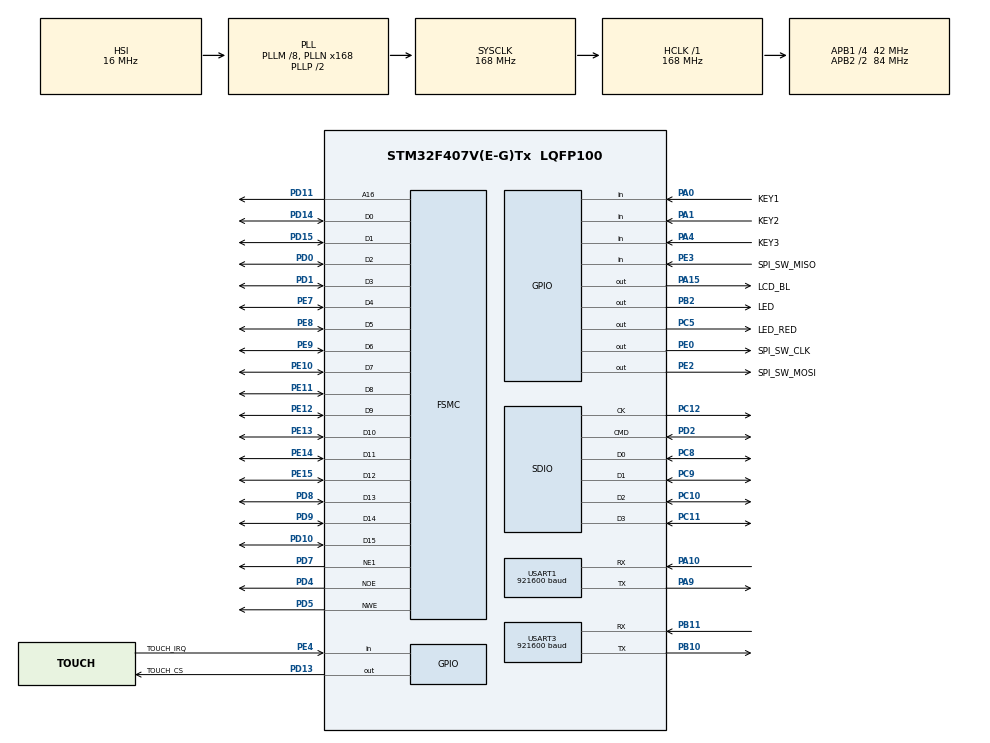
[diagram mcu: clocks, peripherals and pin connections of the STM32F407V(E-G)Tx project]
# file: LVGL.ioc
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Dma.Request0=USART3_RX
Dma.Request1=USART3_TX
Dma.Request2=SDIO_RX
Dma.Request3=SDIO_TX
Dma.Request4=USART1_TX
Dma.Request5=USART1_RX
Dma.SDIO_RX.2.Direction=DMA_PERIPH_TO_MEMORY
Dma.SDIO_RX.2.FIFOMode=DMA_FIFOMODE_ENABLE
Dma.SDIO_RX.2.FIFOThreshold=DMA_FIFO_THRESHOLD_FULL
Dma.SDIO_RX.2.Instance=DMA2_Stream3
Dma.SDIO_RX.2.MemBurst=DMA_MBURST_INC4
Dma.SDIO_RX.2.MemDataAlignment=DMA_MDATAALIGN_WORD
Dma.SDIO_RX.2.MemInc=DMA_MINC_ENABLE
Dma.SDIO_RX.2.Mode=DMA_PFCTRL
Dma.SDIO_RX.2.PeriphBurst=DMA_PBURST_INC4
Dma.SDIO_RX.2.PeriphDataAlignment=DMA_PDATAALIGN_WORD
Dma.SDIO_RX.2.PeriphInc=DMA_PINC_DISABLE
Dma.SDIO_RX.2.Priority=DMA_PRIORITY_LOW
Dma.SDIO_TX.3.Direction=DMA_MEMORY_TO_PERIPH
Dma.SDIO_TX.3.FIFOMode=DMA_FIFOMODE_ENABLE
Dma.SDIO_TX.3.FIFOThreshold=DMA_FIFO_THRESHOLD_FULL
Dma.SDIO_TX.3.Instance=DMA2_Stream6
Dma.SDIO_TX.3.MemBurst=DMA_MBURST_INC4
Dma.SDIO_TX.3.MemDataAlignment=DMA_MDATAALIGN_WORD
Dma.SDIO_TX.3.MemInc=DMA_MINC_ENABLE
Dma.SDIO_TX.3.Mode=DMA_PFCTRL
Dma.SDIO_TX.3.PeriphBurst=DMA_PBURST_INC4
Dma.SDIO_TX.3.PeriphDataAlignment=DMA_PDATAALIGN_WORD
Dma.SDIO_TX.3.PeriphInc=DMA_PINC_DISABLE
Dma.SDIO_TX.3.Priority=DMA_PRIORITY_LOW
Dma.USART1_RX.5.Direction=DMA_PERIPH_TO_MEMORY
Dma.USART1_RX.5.FIFOMode=DMA_FIFOMODE_DISABLE
Dma.USART1_RX.5.Instance=DMA2_Stream2
Dma.USART1_RX.5.MemDataAlignment=DMA_MDATAALIGN_BYTE
Dma.USART1_RX.5.MemInc=DMA_MINC_ENABLE
Dma.USART1_RX.5.Mode=DMA_NORMAL
Dma.USART1_RX.5.PeriphDataAlignment=DMA_PDATAALIGN_BYTE
Dma.USART1_RX.5.PeriphInc=DMA_PINC_DISABLE
Dma.USART1_RX.5.Priority=DMA_PRIORITY_LOW
Dma.USART1_TX.4.Direction=DMA_MEMORY_TO_PERIPH
Dma.USART1_TX.4.FIFOMode=DMA_FIFOMODE_DISABLE
Dma.USART1_TX.4.Instance=DMA2_Stream7
Dma.USART1_TX.4.MemDataAlignment=DMA_MDATAALIGN_BYTE
Dma.USART1_TX.4.MemInc=DMA_MINC_ENABLE
Dma.USART1_TX.4.Mode=DMA_NORMAL
Dma.USART1_TX.4.PeriphDataAlignment=DMA_PDATAALIGN_BYTE
Dma.USART1_TX.4.PeriphInc=DMA_PINC_DISABLE
Dma.USART1_TX.4.Priority=DMA_PRIORITY_LOW
Dma.USART3_RX.0.Direction=DMA_PERIPH_TO_MEMORY
Dma.USART3_RX.0.FIFOMode=DMA_FIFOMODE_DISABLE
Dma.USART3_RX.0.Instance=DMA1_Stream1
Dma.USART3_RX.0.MemDataAlignment=DMA_MDATAALIGN_BYTE
Dma.USART3_RX.0.MemInc=DMA_MINC_ENABLE
Dma.USART3_RX.0.Mode=DMA_NORMAL
Dma.USART3_RX.0.PeriphDataAlignment=DMA_PDATAALIGN_BYTE
Dma.USART3_RX.0.PeriphInc=DMA_PINC_DISABLE
Dma.USART3_RX.0.Priority=DMA_PRIORITY_LOW
Dma.USART3_TX.1.Direction=DMA_MEMORY_TO_PERIPH
Dma.USART3_TX.1.FIFOMode=DMA_FIFOMODE_DISABLE
Dma.USART3_TX.1.Instance=DMA1_Stream3
Dma.USART3_TX.1.MemDataAlignment=DMA_MDATAALIGN_BYTE
Dma.USART3_TX.1.MemInc=DMA_MINC_ENABLE
Dma.USART3_TX.1.Mode=DMA_NORMAL
Dma.USART3_TX.1.PeriphDataAlignment=DMA_PDATAALIGN_BYTE
Dma.USART3_TX.1.PeriphInc=DMA_PINC_DISABLE
Dma.USART3_TX.1.Priority=DMA_PRIORITY_LOW
FATFS._CODE_PAGE=936
FATFS._FS_EXFAT=1
FATFS._USE_LFN=3
FSMC.BusTurnAroundDuration1=0
FSMC.DataSetupTime1=60
FSMC.ExtendedAddressSetupTime1=9
FSMC.ExtendedBusTurnAroundDuration1=0
FSMC.ExtendedDataSetupTime1=8
FSMC.ExtendedMode1=FSMC_EXTENDED_MODE_ENABLE
Mcu.Family=STM32F4
Mcu.Name=STM32F407V(E-G)Tx
Mcu.Package=LQFP100
NVIC.DMA1_Stream1_IRQn=true\:0\:0\:false\:false\:true\:false\:true\:true
NVIC.DMA1_Stream3_IRQn=true\:0\:0\:false\:false\:true\:false\:true\:true
NVIC.DMA2_Stream2_IRQn=true\:0\:0\:false\:false\:true\:false\:true\:true
NVIC.DMA2_Stream3_IRQn=true\:0\:0\:false\:false\:true\:false\:true\:true
NVIC.DMA2_Stream6_IRQn=true\:0\:0\:false\:false\:true\:false\:true\:true
NVIC.DMA2_Stream7_IRQn=true\:0\:0\:false\:false\:true\:false\:true\:true
NVIC.PriorityGroup=NVIC_PRIORITYGROUP_4
NVIC.SDIO_IRQn=true\:0\:0\:false\:false\:true\:true\:true\:true
NVIC.TIM4_IRQn=true\:0\:0\:false\:false\:true\:true\:true\:true
NVIC.TIM5_IRQn=true\:3\:0\:true\:false\:true\:true\:true\:true
NVIC.TIM6_DAC_IRQn=true\:1\:0\:true\:false\:true\:true\:true\:true
NVIC.TIM8_TRG_COM_TIM14_IRQn=true\:15\:0\:false\:false\:true\:false\:true\:true
NVIC.TimeBase=TIM8_TRG_COM_TIM14_IRQn
NVIC.TimeBaseIP=TIM14
NVIC.USART1_IRQn=true\:0\:0\:false\:false\:true\:false\:true\:true
NVIC.USART3_IRQn=true\:0\:0\:false\:false\:true\:false\:true\:true
PA0-WKUP.GPIO_Label=KEY1
PA0-WKUP.GPIO_PuPd=GPIO_PULLDOWN
PA0-WKUP.Signal=GPIO_Input
PA1.GPIO_Label=KEY2
PA1.GPIO_Mode=GPIO_MODE_INPUT
PA1.GPIO_PuPd=GPIO_PULLUP
PA1.Signal=GPIO_Input
PA10.Mode=Asynchronous
PA10.Signal=USART1_RX
PA13.Mode=Serial_Wire
PA13.Signal=SYS_JTMS-SWDIO
PA14.Mode=Serial_Wire
PA14.Signal=SYS_JTCK-SWCLK
PA15.GPIO_Label=LCD_BL
PA15.GPIO_PuPd=GPIO_PULLUP
PA15.Signal=GPIO_Output
PA4.GPIO_Label=KEY3
PA4.GPIO_Mode=GPIO_MODE_INPUT
PA4.GPIO_PuPd=GPIO_PULLUP
PA4.Signal=GPIO_Input
PA9.Mode=Asynchronous
PA9.Signal=USART1_TX
PB10.Mode=Asynchronous
PB10.Signal=USART3_TX
PB11.Mode=Asynchronous
PB11.Signal=USART3_RX
PB2.GPIO_Label=LED
PB2.GPIO_ModeDefaultOutputPP=GPIO_MODE_OUTPUT_PP
PB2.GPIO_PuPd=GPIO_PULLUP
PB2.GPIO_Speed=GPIO_SPEED_FREQ_VERY_HIGH
PB2.Signal=GPIO_Output
PC10.Mode=SD_4_bits_Wide_bus
PC10.Signal=SDIO_D2
PC11.Mode=SD_4_bits_Wide_bus
PC11.Signal=SDIO_D3
PC12.Mode=SD_4_bits_Wide_bus
PC12.Signal=SDIO_CK
PC14-OSC32_IN.Mode=LSE-External-Oscillator
PC14-OSC32_IN.Signal=RCC_OSC32_IN
PC15-OSC32_OUT.Mode=LSE-External-Oscillator
PC15-OSC32_OUT.Signal=RCC_OSC32_OUT
PC5.GPIO_Label=LED_RED
PC5.GPIO_ModeDefaultOutputPP=GPIO_MODE_OUTPUT_PP
PC5.GPIO_PuPd=GPIO_PULLUP
PC5.GPIO_Speed=GPIO_SPEED_FREQ_VERY_HIGH
PC5.Signal=GPIO_Output
PC8.Mode=SD_4_bits_Wide_bus
PC8.Signal=SDIO_D0
PC9.Mode=SD_4_bits_Wide_bus
PC9.Signal=SDIO_D1
PD0.Mode=16b-d1
PD0.Signal=FSMC_D2
PD1.Mode=16b-d1
PD1.Signal=FSMC_D3
PD10.Mode=16b-d1
PD10.Signal=FSMC_D15
PD11.Mode=A16_1
PD11.Signal=FSMC_A16
PD13.GPIO_Label=TOUCH_CS
PD13.GPIO_PuPd=GPIO_PULLUP
PD13.GPIO_Speed=GPIO_SPEED_FREQ_VERY_HIGH
PD13.Signal=GPIO_Output
PD14.Mode=16b-d1
PD14.Signal=FSMC_D0
PD15.Mode=16b-d1
PD15.Signal=FSMC_D1
PD2.Mode=SD_4_bits_Wide_bus
PD2.Signal=SDIO_CMD
PD4.Mode=Lcd1
PD4.Signal=FSMC_NOE
PD5.Mode=Lcd1
PD5.Signal=FSMC_NWE
PD7.Mode=NorPsramChipSelect1_1
PD7.Signal=FSMC_NE1
PD8.Mode=16b-d1
PD8.Signal=FSMC_D13
PD9.Mode=16b-d1
PD9.Signal=FSMC_D14
PE0.GPIO_Label=SPI_SW_CLK
PE0.GPIO_PuPd=GPIO_PULLUP
PE0.GPIO_Speed=GPIO_SPEED_FREQ_VERY_HIGH
PE0.Signal=GPIO_Output
PE10.Mode=16b-d1
PE10.Signal=FSMC_D7
PE11.Mode=16b-d1
PE11.Signal=FSMC_D8
PE12.Mode=16b-d1
PE12.Signal=FSMC_D9
PE13.Mode=16b-d1
PE13.Signal=FSMC_D10
PE14.Mode=16b-d1
PE14.Signal=FSMC_D11
PE15.Mode=16b-d1
PE15.Signal=FSMC_D12
PE2.GPIO_Label=SPI_SW_MOSI
PE2.GPIO_PuPd=GPIO_PULLUP
PE2.GPIO_Speed=GPIO_SPEED_FREQ_VERY_HIGH
PE2.Signal=GPIO_Output
PE3.GPIO_Label=SPI_SW_MISO
PE3.GPIO_PuPd=GPIO_PULLUP
PE3.Signal=GPIO_Input
PE4.GPIO_Label=TOUCH_IRQ
PE4.GPIO_PuPd=GPIO_PULLUP
PE4.Signal=GPIO_Input
PE7.Mode=16b-d1
PE7.Signal=FSMC_D4
PE8.Mode=16b-d1
PE8.Signal=FSMC_D5
PE9.Mode=16b-d1
PE9.Signal=FSMC_D6
PH0-OSC_IN.Mode=HSE-External-Oscillator
PH0-OSC_IN.Signal=RCC_OSC_IN
PH1-OSC_OUT.Mode=HSE-External-Oscillator
PH1-OSC_OUT.Signal=RCC_OSC_OUT
ProjectManager.HeapSize=0x1000
ProjectManager.StackSize=0x1000
ProjectManager.TargetToolchain=CMake
RCC.48MHZClocksFreq_Value=48000000
RCC.AHBFreq_Value=168000000
RCC.APB1CLKDivider=RCC_HCLK_DIV4
RCC.APB1Freq_Value=42000000
RCC.APB1TimFreq_Value=84000000
RCC.APB2CLKDivider=RCC_HCLK_DIV2
RCC.APB2Freq_Value=84000000
RCC.APB2TimFreq_Value=168000000
RCC.CortexFreq_Value=168000000
RCC.HCLKFreq_Value=168000000
RCC.HSE_VALUE=25000000
RCC.HSI_VALUE=16000000
RCC.PLLM=8
RCC.PLLN=168
RCC.PLLQ=7
RCC.SYSCLKFreq_VALUE=168000000
RCC.SYSCLKSource=RCC_SYSCLKSOURCE_PLLCLK
RCC.VCOOutputFreq_Value=336000000
SDIO.ClockDiv=4
TIM4.Period=5000-1
TIM4.Prescaler=84-1
TIM5.Period=1000-1
TIM5.Prescaler=84-1
TIM6.Period=1000-1
TIM6.Prescaler=84-1
USART1.BaudRate=921600
USART1.VirtualMode=VM_ASYNC
USART3.BaudRate=921600
USART3.VirtualMode=VM_ASYNC
VP_FATFS_VS_SDIO.Mode=SDIO
VP_SYS_VS_tim14.Mode=TIM14
VP_TIM4_VS_ClockSourceINT.Mode=Internal
VP_TIM5_VS_ClockSourceINT.Mode=Internal
VP_TIM6_VS_ClockSourceINT.Mode=Enable_Timer
board=custom

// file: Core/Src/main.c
/* USER CODE BEGIN Header */
/**
  ******************************************************************************
  * @file           : main.c
  * @brief          : Main program body
  ******************************************************************************
  * @attention
  *
  * Copyright (c) 2025 STMicroelectronics.
  * All rights reserved.
  *
  * This software is licensed under terms that can be found in the LICENSE file
  * in the root directory of this software component.
  * If no LICENSE file comes with this software, it is provided AS-IS.
  *
  ******************************************************************************
  */
/* USER CODE END Header */
#include "main.h"
#include "dma.h"
#include "fatfs.h"
#include "sdio.h"
#include "tim.h"
#include "usart.h"
#include "gpio.h"
#include "fsmc.h"

/* USER CODE BEGIN Includes */
#include "driver_cmd.h"
#include "driver_led.h"
#include "driver_log.h"
#include "driver_sd_fs.h"

#include "lcd_ili9341.h"
#include "touch_xpt2046.h"

#include "hal_delay.h"
#include "hal_gpio.h"

#include "main.h"
#include "tim.h"

#include "custom.h"
#include "events_init.h"
#include "gui_guider.h"
#include "lv_port_disp.h"
#include "lv_port_fs.h"
#include "lv_port_indev.h"
#include "ui_app.h"
/* USER CODE END Includes */

/* USER CODE BEGIN PV */
static const hal_delay_interface_t *hal_delay = NULL;
static const hal_gpio_interface_t *hal_gpio = NULL;
static const driver_led_interface_t *led = NULL;
static const driver_log_interface_t *logger = NULL;
static const driver_cmd_interface_t *cmd = NULL;
static const driver_touch_interface_t *touch = NULL;
static const driver_lcd_interface_t *lcd = NULL;
static const driver_fs_interface_t *fs = NULL;

static __IO uint64_t lv_timer_handler_tick = 0;
/* USER CODE END PV */

void SystemClock_Config(void);
/* USER CODE BEGIN PFP */
void sys_init(void);
/* USER CODE END PFP */

int main(void)
{

  /* MCU Configuration--------------------------------------------------------*/

  /* Reset of all peripherals, Initializes the Flash interface and the Systick. */
  HAL_Init();

  /* Configure the system clock */
  SystemClock_Config();

  /* Initialize all configured peripherals */
  MX_GPIO_Init();
  MX_DMA_Init();
  MX_USART3_UART_Init();
  MX_FSMC_Init();
  MX_SDIO_SD_Init();
  MX_FATFS_Init();
  MX_USART1_UART_Init();
  MX_TIM6_Init();
  MX_TIM5_Init();
  MX_TIM4_Init();
  /* USER CODE BEGIN 2 */
  sys_init();
  log_info("System initialized.");
  hal_delay->delay_ms(500);

  ui_app_init();
  HAL_TIM_Base_Start_IT(&htim6); // lvgl心跳时钟
  log_info("LVGL initialized.");
  HAL_TIM_Base_Start_IT(&htim4); // lvgl定时器处理器时钟
  /* USER CODE END 2 */

  /* Infinite loop */
  /* USER CODE BEGIN WHILE */
  while (1)
  {
    lv_timer_handler();

    if (hal_gpio->read(KEY1_GPIO_Port, KEY1_Pin) == 1) {
      printf("KEY1 pressed, start calibration\r\n");
      // 进入触摸屏校准（校准完成后会自动重启）
      touch->re_cali();
    }

    static uint64_t last_tick = 0;
    while ((lv_timer_handler_tick - last_tick) < 5) {
      // 等待5ms周期到达
      __NOP();
    }
    last_tick = lv_timer_handler_tick;
    /* USER CODE END WHILE */

  }
}

void SystemClock_Config(void)
{
  RCC_OscInitTypeDef RCC_OscInitStruct = {0};
  RCC_ClkInitTypeDef RCC_ClkInitStruct = {0};

  /** Configure the main internal regulator output voltage
  */
  __HAL_RCC_PWR_CLK_ENABLE();
  __HAL_PWR_VOLTAGESCALING_CONFIG(PWR_REGULATOR_VOLTAGE_SCALE1);

  /** Initializes the RCC Oscillators according to the specified parameters
  * in the RCC_OscInitTypeDef structure.
  */
  RCC_OscInitStruct.OscillatorType = RCC_OSCILLATORTYPE_HSI;
  RCC_OscInitStruct.HSIState = RCC_HSI_ON;
  RCC_OscInitStruct.HSICalibrationValue = RCC_HSICALIBRATION_DEFAULT;
  RCC_OscInitStruct.PLL.PLLState = RCC_PLL_ON;
  RCC_OscInitStruct.PLL.PLLSource = RCC_PLLSOURCE_HSI;
  RCC_OscInitStruct.PLL.PLLM = 8;
  RCC_OscInitStruct.PLL.PLLN = 168;
  RCC_OscInitStruct.PLL.PLLP = RCC_PLLP_DIV2;
  RCC_OscInitStruct.PLL.PLLQ = 7;
  if (HAL_RCC_OscConfig(&RCC_OscInitStruct) != HAL_OK)
  {
    Error_Handler();
  }

  /** Initializes the CPU, AHB and APB buses clocks
  */
  RCC_ClkInitStruct.ClockType = RCC_CLOCKTYPE_HCLK|RCC_CLOCKTYPE_SYSCLK
                              |RCC_CLOCKTYPE_PCLK1|RCC_CLOCKTYPE_PCLK2;
  RCC_ClkInitStruct.SYSCLKSource = RCC_SYSCLKSOURCE_PLLCLK;
  RCC_ClkInitStruct.AHBCLKDivider = RCC_SYSCLK_DIV1;
  RCC_ClkInitStruct.APB1CLKDivider = RCC_HCLK_DIV4;
  RCC_ClkInitStruct.APB2CLKDivider = RCC_HCLK_DIV2;

  if (HAL_RCC_ClockConfig(&RCC_ClkInitStruct, FLASH_LATENCY_5) != HAL_OK)
  {
    Error_Handler();
  }
}

/* USER CODE BEGIN 4 */
void sys_init(void) {
  hal_delay = hal_delay_get_interface();
  hal_gpio = hal_gpio_get_interface();

  logger = driver_log_get_interface();
  logger->init();

  cmd = driver_cmd_get_interface();
  cmd->init();
  cmd->rx_start();

  fs = driver_fs_get_interface();
  fs->init();
  fs->init_fs(0);

  led = driver_led_get_interface();
  led->init();
  HAL_TIM_Base_Start_IT(&htim5);

  lcd = driver_lcd_get_interface();

  lcd->init();
  lcd->set_dir(1); // 设置显示方向：0-竖屏、1-横屏
  lcd->string(20, 100, "Hello, Drink More Shui!", 16, WHITE, BLACK);

  touch = driver_touch_get_interface();
  touch->init(lcd->xlcd->width, lcd->xlcd->height, lcd->xlcd->dir);
}
/* USER CODE END 4 */

void HAL_TIM_PeriodElapsedCallback(TIM_HandleTypeDef *htim)
{
  if (htim->Instance == TIM14)
  {
    HAL_IncTick();
  }
  /* USER CODE BEGIN Callback 1 */
  else if (htim->Instance == TIM6) {
    lv_tick_inc(1); // LVGL heartbeat: 1ms tick
  } else if (htim->Instance == TIM5) { // 1ms
    if (led->auto_blink_enabled) {
      static uint32_t tick = 0;
      tick++;
      if (tick > led->blink_period_ms) {
        led->toggle();
        tick = 0;
      }
    }
  } else if (htim->Instance == TIM4) { // 5ms
    lv_timer_handler_tick++;
  }
  /* USER CODE END Callback 1 */
}

void Error_Handler(void)
{
  __disable_irq();
  while (1)
  {
  }
}
